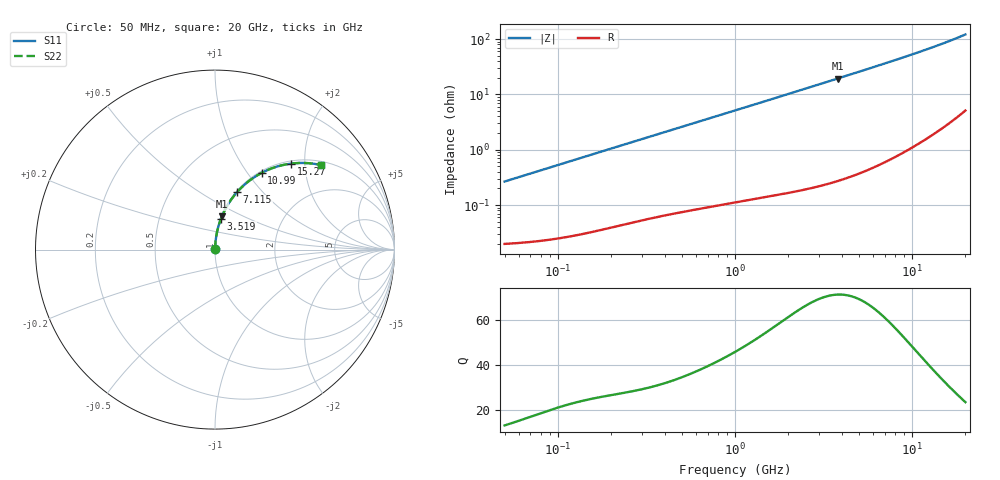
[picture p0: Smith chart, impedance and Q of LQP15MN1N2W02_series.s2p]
!Murata Part Number: LQP15MN1N2W02
!These Parameters are Measured in Series Mode Connection
!  o--[Z]--o
!Port1  Port2
!  o-------o
!Freq. Start=50[MHz] Stop=20[GHz], 401[Steps]
# Hz S RI R 50
!Freq.(Hz) S11(Real) S11(Imag) S21(Real) S21(Imag) S12(Real) S12(Imag) S22(Real) S22(Imag)
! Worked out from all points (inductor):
!   401 points, 50 MHz to 20 GHz, reference 50 ohm
!   read as one part in series: L = 846 pH near 51.52 MHz
!   highest Q = 71.2 at 3.793 GHz (marker M1), where L = 811 pH
!   S11 on the Smith chart (normalised r, x): 50 MHz: 1.00, +0.01; 3.519 GHz: 1.01, +0.36; 7.115 GHz: 1.01, +0.74; 10.99 GHz: 1.03, +1.17; 15.27 GHz: 1.05, +1.71; 20 GHz: 1.10, +2.42
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5e7  0.000206 0.00266  0.9998 -0.00266  0.9998 -0.00266  0.000206 0.00266
5.152053e7  0.000207 0.00274  0.9998 -0.00274  0.9998 -0.00274  0.000207 0.00274
1.364002e8  0.00035 0.0072  0.9997 -0.0072  0.9997 -0.0072  0.00035 0.0072
3.721004e8  0.000989 0.0193  0.999 -0.0193  0.999 -0.0193  0.000989 0.0193
6.380365e8  0.00193 0.0327  0.9981 -0.0327  0.9981 -0.0327  0.00193 0.0327
1e9  0.00371 0.0509  0.9963 -0.0509  0.9963 -0.0509  0.00371 0.0509
1.714689e9  0.00904 0.0864  0.991 -0.0864  0.991 -0.0864  0.00904 0.0864
2.728004e9  0.0208 0.1356  0.9792 -0.1356  0.9792 -0.1356  0.0208 0.1356
3.519108e9  0.0334 0.1728  0.9666 -0.1728  0.9666 -0.1728  0.0334 0.1728
3.792786e9  0.0384 0.1853  0.9616 -0.1853  0.9616 -0.1853  0.0384 0.1853
4.539627e9  0.0538 0.2186  0.9462 -0.2186  0.9462 -0.2186  0.0538 0.2186
5.352748e9  0.0731 0.2531  0.9269 -0.2531  0.9269 -0.2531  0.0731 0.2531
6.217679e9  0.0964 0.2875  0.9036 -0.2875  0.9036 -0.2875  0.0964 0.2875
7.114996e9  0.1231 0.3204  0.8769 -0.3204  0.8769 -0.3204  0.1231 0.3204
7.442007e9  0.1335 0.3317  0.8665 -0.3317  0.8665 -0.3317  0.1335 0.3317
9.041845e9  0.1877 0.381  0.8123 -0.381  0.8123 -0.381  0.1877 0.381
1.098561e10  0.2595 0.4273  0.7405 -0.4273  0.7405 -0.4273  0.2595 0.4273
1.295331e10  0.3353 0.4593  0.6647 -0.4593  0.6647 -0.4593  0.3353 0.4593
1.527346e10  0.4244 0.4792  0.5756 -0.4792  0.5756 -0.4792  0.4244 0.4792
1.747767e10  0.5054 0.4824  0.4946 -0.4824  0.4946 -0.4824  0.5054 0.4824
1.940974e10  0.5716 0.475  0.4284 -0.475  0.4284 -0.475  0.5716 0.475
2e10  0.5908 0.471  0.4092 -0.471  0.4092 -0.471  0.5908 0.471
